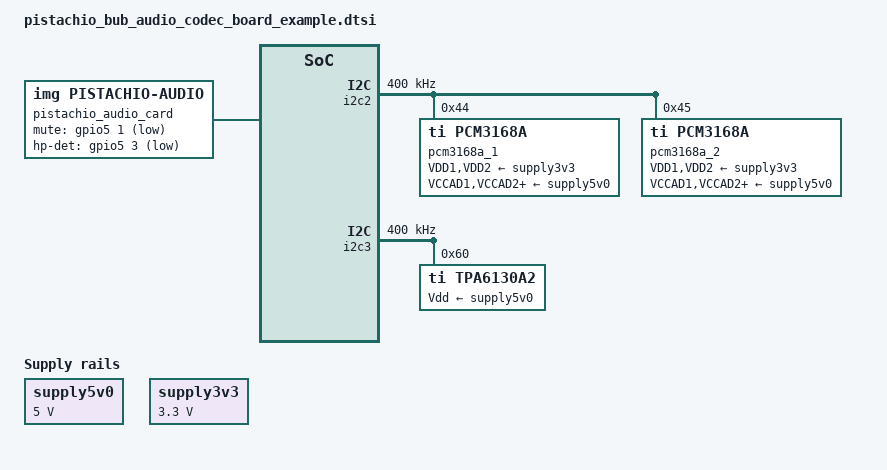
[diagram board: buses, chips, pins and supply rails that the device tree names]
/*
 * Copyright (C) 2015 Imagination Technologies Ltd.
 *
 * This program is free software; you can redistribute it and/or modify
 * it under the terms of the GNU General Public License version 2 as
 * published by the Free Software Foundation.
 */

#include "pistachio.dtsi"
#include <dt-bindings/sound/pistachio-audio.h>

/ {
	supply5v0: supply5v0@0 {
		compatible = "regulator-fixed";
		regulator-name = "5V-supply";
		regulator-min-microvolt = <5000000>;
		regulator-max-microvolt = <5000000>;
	};

	supply3v3: supply3v3@0 {
		compatible = "regulator-fixed";
		regulator-name = "3V3-supply";
		regulator-min-microvolt = <3300000>;
		regulator-max-microvolt = <3300000>;
	};

	pistachio_audio_card {
		compatible = "img,pistachio-audio";

		clocks = <&clk_core CLK_AUDIO_PLL>,
			 <&clk_core CLK_I2S>,
			 <&clk_core CLK_AUDIO>;
		clock-names = "audio_pll", "i2s_mclk", "dac_clk";

		img,cr-periph = <&cr_periph>;
		img,event-timer = <&event_timer>;

		img,mute-gpio = <&gpio5 1 GPIO_ACTIVE_LOW>;
		img,hp-det-gpio = <&gpio5 3 GPIO_ACTIVE_LOW>;

		img,widgets = "Headphone", "Headphones",
			      "Speaker", "Speakers",
			      "Line", "RCA Out";

		img,routing = "Headphones", "tpa OUTL",
			      "Headphones", "tpa OUTR",
			      "Speakers", "tpa OUTL",
			      "Speakers", "tpa OUTR",
			      "RCA Out", "internal-dac AOUTL",
			      "RCA Out", "internal-dac AOUTR",
			      "tpa INL", "internal-dac AOUTL",
			      "tpa INR", "internal-dac AOUTR";

		spdif-out {
			cpu-dai = <&spdif_out>;
		};

		spdif-in {
			cpu-dai = <&spdif_in>;
		};

		parallel-out {
			cpu-dai = <&parallel_out>;
			sound-dai = <&internal_dac>;
			tpa6130a2 = <&tpa6130a2>;
		};

		i2s-out {
			cpu-dai = <&i2s_out>;
			format = "i2s";

			pcm3168a-1 {
				mclk = <PISTACHIO_MCLK_DAC>;
				mclk-fs = <128 192 256 384 512 768>;
				mclk-min-freq = <2048000>;
				mclk-max-freq = <36864000>;
				sound-dai = <&pcm3168a_1 0>;
			};

			pcm3168a-2 {
				mclk = <PISTACHIO_MCLK_DAC>;
				mclk-fs = <128 192 256 384 512 768>;
				mclk-min-freq = <2048000>;
				mclk-max-freq = <36864000>;
				sound-dai = <&pcm3168a_2 0>;
			};
		};

		i2s-in {
			cpu-dai = <&i2s_in>;
			format = "i2s";

			pcm3168a-1 {
				mclk = <PISTACHIO_MCLK_DAC>;
				mclk-fs = <256 384 512 768>;
				mclk-min-freq = <2048000>;
				mclk-max-freq = <36864000>;
				sound-dai = <&pcm3168a_1 1>;
			};

			pcm3168a-2 {
				mclk = <PISTACHIO_MCLK_DAC>;
				mclk-fs = <256 384 512 768>;
				mclk-min-freq = <2048000>;
				mclk-max-freq = <36864000>;
				sound-dai = <&pcm3168a_2 1>;
				frame-master;
				bitclock-master;
			};
		};
	};
};

&i2c2 {
	status = "okay";
	clock-frequency = <400000>;

	pcm3168a_1: pcm3168a_1@44 {
		compatible = "ti,pcm3168a";
		reg = <0x44>;
		clocks = <&clk_core CLK_AUDIO>;
		clock-names = "scki";

		assigned-clocks = <&clk_core CLK_AUDIO_PLL>,
				  <&clk_core CLK_AUDIO_PLL_MUX>,
				   <&clk_core CLK_AUDIO>;
		assigned-clock-parents = <0>,
					 <&clk_core CLK_AUDIO_PLL>,
					 <0>;
		assigned-clock-rates = <147456000>,
				       <147456000>,
				       <12288000>;

		pinctrl-names = "default";
		pinctrl-0 = <&dac_clk_pin>;
		VDD1-supply = <&supply3v3>;
		VDD2-supply = <&supply3v3>;
		VCCAD1-supply = <&supply5v0>;
		VCCAD2-supply = <&supply5v0>;
		VCCDA1-supply = <&supply5v0>;
		VCCDA2-supply = <&supply5v0>;

		#sound-dai-cells = <1>;
	};

	pcm3168a_2: pcm3168a_2@45 {
		compatible = "ti,pcm3168a";
		reg = <0x45>;
		clocks = <&clk_core CLK_AUDIO>;
		clock-names = "scki";

		assigned-clocks = <&clk_core CLK_AUDIO_PLL>,
				  <&clk_core CLK_AUDIO_PLL_MUX>,
				   <&clk_core CLK_AUDIO>;
		assigned-clock-parents = <0>,
					 <&clk_core CLK_AUDIO_PLL>,
					 <0>;
		assigned-clock-rates = <147456000>,
				       <147456000>,
				       <12288000>;

		pinctrl-names = "default";
		pinctrl-0 = <&dac_clk_pin>;
		VDD1-supply = <&supply3v3>;
		VDD2-supply = <&supply3v3>;
		VCCAD1-supply = <&supply5v0>;
		VCCAD2-supply = <&supply5v0>;
		VCCDA1-supply = <&supply5v0>;
		VCCDA2-supply = <&supply5v0>;

		#sound-dai-cells = <1>;
	};
};

&i2c3 {
	status = "okay";
	clock-frequency = <400000>;

	tpa6130a2: tpa6130a2@60 {
		compatible = "ti,tpa6130a2";
		reg = <0x60>;
		Vdd-supply = <&supply5v0>;
	};
};

&i2s_out {
	status = "okay";
};

&i2s_in {
	status = "okay";
	pinctrl-names = "default";
	pinctrl-0 = <&i2s_in_pins>;
};

&spdif_out {
	status = "okay";
};

&spdif_in {
	status = "okay";
};

&parallel_out {
	status = "okay";
};
